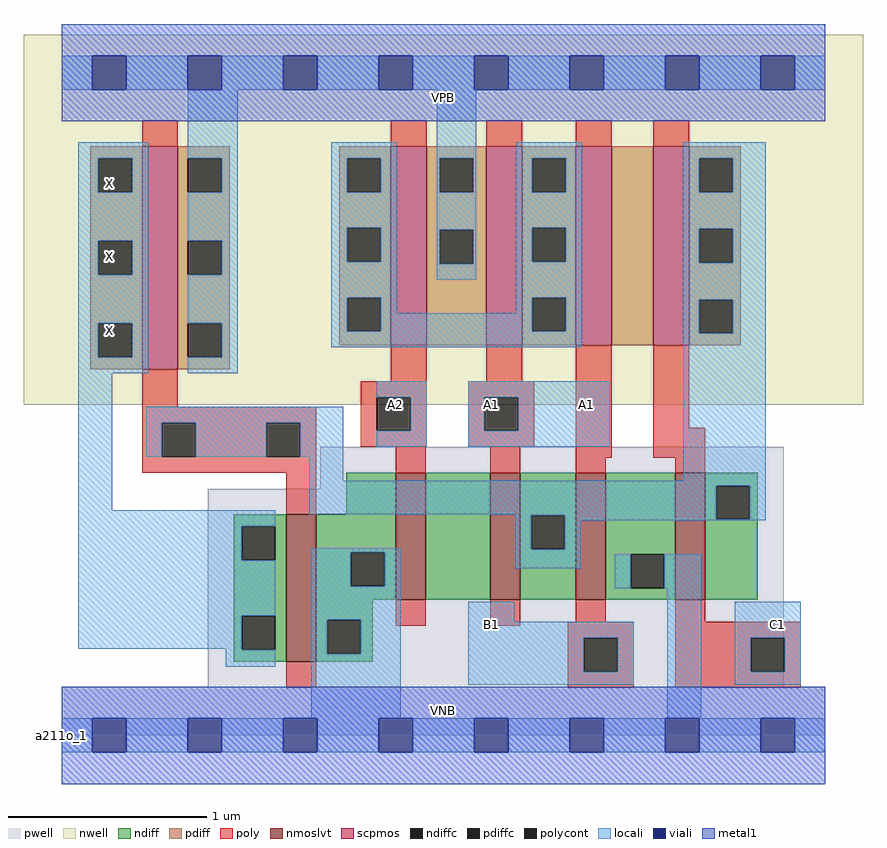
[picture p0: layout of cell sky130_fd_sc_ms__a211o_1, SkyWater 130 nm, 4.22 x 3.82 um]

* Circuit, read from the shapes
.subckt sky130_fd_sc_ms__a211o_1 A1 A2 B1 C1 VGND VNB VPB VPWR X
XM1 VGND n1 X VNB sky130_fd_pr__nfet_01v8_lvt w=0.74 l=0.15
XM2 n2 A2 VGND VNB sky130_fd_pr__nfet_01v8_lvt w=0.64 l=0.15
XM3 n1 A1 n2 VNB sky130_fd_pr__nfet_01v8_lvt w=0.64 l=0.15
XM4 VGND B1 n1 VNB sky130_fd_pr__nfet_01v8_lvt w=0.64 l=0.15
XM5 n1 C1 VGND VNB sky130_fd_pr__nfet_01v8_lvt w=0.64 l=0.15
XM6 VPWR n1 X VPB sky130_fd_pr__pfet_01v8 w=1.12 l=0.18
XM7 VPWR A2 n3 VPB sky130_fd_pr__pfet_01v8 w=1 l=0.18
XM8 n3 A1 VPWR VPB sky130_fd_pr__pfet_01v8 w=1 l=0.18
XM9 n4 B1 n3 VPB sky130_fd_pr__pfet_01v8 w=1 l=0.18
XM10 n1 C1 n4 VPB sky130_fd_pr__pfet_01v8 w=1 l=0.18
.ends

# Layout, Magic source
magic
tech sky130A
magscale 1 2
<< nwell >>
rect -38 332 806 704
<< pwell >>
rect 260 248 726 290
rect 147 49 726 248
rect 0 0 768 49
<< scpmos >>
rect 81 368 117 592
rect 331 392 367 592
rect 427 392 463 592
rect 517 392 553 592
rect 595 392 631 592
<< nmoslvt >>
rect 226 74 256 222
rect 336 136 366 264
rect 431 136 461 264
rect 517 136 547 264
rect 617 136 647 264
<< ndiff >>
rect 286 222 336 264
rect 173 210 226 222
rect 173 176 181 210
rect 215 176 226 210
rect 173 120 226 176
rect 173 86 181 120
rect 215 86 226 120
rect 173 74 226 86
rect 256 184 336 222
rect 256 150 291 184
rect 325 150 336 184
rect 256 136 336 150
rect 366 136 431 264
rect 461 221 517 264
rect 461 187 472 221
rect 506 187 517 221
rect 461 136 517 187
rect 547 182 617 264
rect 547 148 572 182
rect 606 148 617 182
rect 547 136 617 148
rect 647 251 700 264
rect 647 217 658 251
rect 692 217 700 251
rect 647 136 700 217
rect 256 116 313 136
rect 256 82 267 116
rect 301 82 313 116
rect 256 74 313 82
<< pdiff >>
rect 29 580 81 592
rect 29 546 37 580
rect 71 546 81 580
rect 29 497 81 546
rect 29 463 37 497
rect 71 463 81 497
rect 29 414 81 463
rect 29 380 37 414
rect 71 380 81 414
rect 29 368 81 380
rect 117 580 169 592
rect 117 546 127 580
rect 161 546 169 580
rect 117 497 169 546
rect 117 463 127 497
rect 161 463 169 497
rect 117 414 169 463
rect 117 380 127 414
rect 161 380 169 414
rect 279 580 331 592
rect 279 546 287 580
rect 321 546 331 580
rect 279 510 331 546
rect 279 476 287 510
rect 321 476 331 510
rect 279 440 331 476
rect 279 406 287 440
rect 321 406 331 440
rect 279 392 331 406
rect 367 580 427 592
rect 367 546 380 580
rect 414 546 427 580
rect 367 508 427 546
rect 367 474 380 508
rect 414 474 427 508
rect 367 392 427 474
rect 463 580 517 592
rect 463 546 473 580
rect 507 546 517 580
rect 463 510 517 546
rect 463 476 473 510
rect 507 476 517 510
rect 463 440 517 476
rect 463 406 473 440
rect 507 406 517 440
rect 463 392 517 406
rect 553 392 595 592
rect 631 580 683 592
rect 631 546 641 580
rect 675 546 683 580
rect 631 509 683 546
rect 631 475 641 509
rect 675 475 683 509
rect 631 438 683 475
rect 631 404 641 438
rect 675 404 683 438
rect 631 392 683 404
rect 117 368 169 380
<< ndiffc >>
rect 181 176 215 210
rect 181 86 215 120
rect 291 150 325 184
rect 472 187 506 221
rect 572 148 606 182
rect 658 217 692 251
rect 267 82 301 116
<< pdiffc >>
rect 37 546 71 580
rect 37 463 71 497
rect 37 380 71 414
rect 127 546 161 580
rect 127 463 161 497
rect 127 380 161 414
rect 287 546 321 580
rect 287 476 321 510
rect 287 406 321 440
rect 380 546 414 580
rect 380 474 414 508
rect 473 546 507 580
rect 473 476 507 510
rect 473 406 507 440
rect 641 546 675 580
rect 641 475 675 509
rect 641 404 675 438
<< poly >>
rect 81 592 117 618
rect 331 592 367 618
rect 427 592 463 618
rect 517 592 553 618
rect 595 592 631 618
rect 81 330 117 368
rect 331 356 367 392
rect 427 356 463 392
rect 301 340 367 356
rect 81 314 256 330
rect 81 280 101 314
rect 135 280 206 314
rect 240 280 256 314
rect 301 306 317 340
rect 351 306 367 340
rect 301 290 367 306
rect 409 340 475 356
rect 409 306 425 340
rect 459 306 475 340
rect 409 290 475 306
rect 81 264 256 280
rect 336 264 366 290
rect 431 264 461 290
rect 517 279 553 392
rect 595 309 631 392
rect 595 279 647 309
rect 517 264 547 279
rect 617 264 647 279
rect 226 222 256 264
rect 336 110 366 136
rect 431 110 461 136
rect 517 114 547 136
rect 617 114 647 136
rect 509 98 575 114
rect 226 48 256 74
rect 509 64 525 98
rect 559 64 575 98
rect 509 48 575 64
rect 617 98 743 114
rect 617 64 693 98
rect 727 64 743 98
rect 617 48 743 64
<< polycont >>
rect 101 280 135 314
rect 206 280 240 314
rect 317 306 351 340
rect 425 306 459 340
rect 525 64 559 98
rect 693 64 727 98
<< locali >>
rect 0 649 31 683
rect 65 649 127 683
rect 161 649 223 683
rect 257 649 319 683
rect 353 649 415 683
rect 449 649 511 683
rect 545 649 607 683
rect 641 649 703 683
rect 737 649 768 683
rect 17 580 87 596
rect 17 546 37 580
rect 71 546 87 580
rect 17 497 87 546
rect 17 463 37 497
rect 71 463 87 497
rect 17 414 87 463
rect 17 380 37 414
rect 71 380 87 414
rect 17 364 87 380
rect 127 580 177 649
rect 161 546 177 580
rect 127 497 177 546
rect 161 463 177 497
rect 127 414 177 463
rect 161 380 177 414
rect 271 580 337 596
rect 271 546 287 580
rect 321 546 337 580
rect 271 510 337 546
rect 271 476 287 510
rect 321 476 337 510
rect 271 440 337 476
rect 377 580 417 649
rect 377 546 380 580
rect 414 546 417 580
rect 377 508 417 546
rect 377 474 380 508
rect 414 474 417 508
rect 377 458 417 474
rect 457 580 523 596
rect 457 546 473 580
rect 507 546 523 580
rect 457 510 523 546
rect 457 476 473 510
rect 507 476 523 510
rect 271 406 287 440
rect 321 424 337 440
rect 457 440 523 476
rect 457 424 473 440
rect 321 406 473 424
rect 507 406 523 440
rect 271 390 523 406
rect 625 580 708 596
rect 625 546 641 580
rect 675 546 708 580
rect 625 509 708 546
rect 625 475 641 509
rect 675 475 708 509
rect 625 438 708 475
rect 625 404 641 438
rect 675 404 708 438
rect 127 364 177 380
rect 17 226 51 364
rect 317 340 367 356
rect 85 314 283 330
rect 85 280 101 314
rect 135 280 206 314
rect 240 280 283 314
rect 351 306 367 340
rect 317 290 367 306
rect 409 340 551 356
rect 409 306 425 340
rect 459 306 551 340
rect 409 290 551 306
rect 249 256 283 280
rect 625 256 708 404
rect 249 251 708 256
rect 17 210 215 226
rect 249 222 658 251
rect 17 176 181 210
rect 456 221 658 222
rect 17 120 215 176
rect 17 87 181 120
rect 165 86 181 87
rect 165 69 215 86
rect 251 184 341 188
rect 251 150 291 184
rect 325 150 341 184
rect 456 187 472 221
rect 506 217 658 221
rect 692 217 708 251
rect 506 216 708 217
rect 506 187 522 216
rect 456 168 522 187
rect 251 116 341 150
rect 556 148 572 182
rect 606 148 643 182
rect 251 82 267 116
rect 301 82 341 116
rect 251 17 341 82
rect 409 114 455 134
rect 409 98 575 114
rect 409 64 525 98
rect 559 64 575 98
rect 409 51 575 64
rect 609 17 643 148
rect 677 98 743 134
rect 677 64 693 98
rect 727 64 743 98
rect 677 51 743 64
rect 0 -17 31 17
rect 65 -17 127 17
rect 161 -17 223 17
rect 257 -17 319 17
rect 353 -17 415 17
rect 449 -17 511 17
rect 545 -17 607 17
rect 641 -17 703 17
rect 737 -17 768 17
<< viali >>
rect 31 649 65 683
rect 127 649 161 683
rect 223 649 257 683
rect 319 649 353 683
rect 415 649 449 683
rect 511 649 545 683
rect 607 649 641 683
rect 703 649 737 683
rect 31 -17 65 17
rect 127 -17 161 17
rect 223 -17 257 17
rect 319 -17 353 17
rect 415 -17 449 17
rect 511 -17 545 17
rect 607 -17 641 17
rect 703 -17 737 17
<< metal1 >>
rect 0 683 768 715
rect 0 649 31 683
rect 65 649 127 683
rect 161 649 223 683
rect 257 649 319 683
rect 353 649 415 683
rect 449 649 511 683
rect 545 649 607 683
rect 641 649 703 683
rect 737 649 768 683
rect 0 617 768 649
rect 0 17 768 49
rect 0 -17 31 17
rect 65 -17 127 17
rect 161 -17 223 17
rect 257 -17 319 17
rect 353 -17 415 17
rect 449 -17 511 17
rect 545 -17 607 17
rect 641 -17 703 17
rect 737 -17 768 17
rect 0 -49 768 -17
<< labels >>
flabel pwell s 0 0 768 49 0 FreeSans 200 0 0 0 VNB
port 6 nsew ground bidirectional
flabel nwell s 0 617 768 666 0 FreeSans 200 0 0 0 VPB
port 7 nsew power bidirectional
rlabel comment s 0 0 0 0 4 a211o_1
flabel metal1 s 0 617 768 666 0 FreeSans 340 0 0 0 VPWR
port 8 nsew power bidirectional
flabel metal1 s 0 0 768 49 0 FreeSans 340 0 0 0 VGND
port 5 nsew ground bidirectional
flabel locali s 31 390 65 424 0 FreeSans 340 0 0 0 X
port 9 nsew signal output
flabel locali s 31 464 65 498 0 FreeSans 340 0 0 0 X
port 9 nsew signal output
flabel locali s 31 538 65 572 0 FreeSans 340 0 0 0 X
port 9 nsew signal output
flabel locali s 703 94 737 128 0 FreeSans 340 0 0 0 C1
port 4 nsew signal input
flabel locali s 415 94 449 128 0 FreeSans 340 0 0 0 B1
port 3 nsew signal input
flabel locali s 319 316 353 350 0 FreeSans 340 0 0 0 A2
port 2 nsew signal input
flabel locali s 415 316 449 350 0 FreeSans 340 0 0 0 A1
port 1 nsew signal input
flabel locali s 511 316 545 350 0 FreeSans 340 0 0 0 A1
port 1 nsew signal input
<< properties >>
string LEFsite unit
string LEFclass CORE
string FIXED_BBOX 0 0 768 666
string GDS_FILE $PDKPATH/libs.ref/sky130_fd_sc_ms/gds/sky130_fd_sc_ms.gds
string LEFsymmetry X Y
string GDS_END 1001478
string GDS_START 994456
<< end >>
